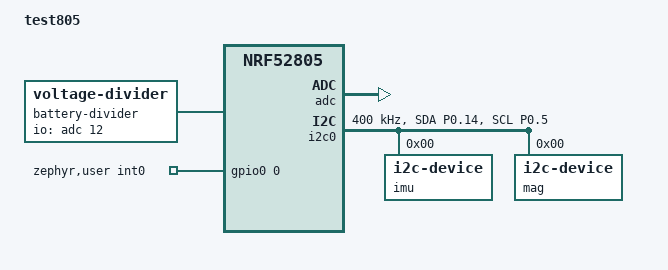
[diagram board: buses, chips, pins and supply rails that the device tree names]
// Copyright (c) 2024 Nordic Semiconductor ASA
// SPDX-License-Identifier: Apache-2.0

/dts-v1/;
#include <nordic/nrf52805_caaa.dtsi>

&pinctrl {
	i2c0_default: i2c0_default {
		group1 {
			psels = <NRF_PSEL(TWIM_SDA, 0, 14)>, <NRF_PSEL(TWIM_SCL, 0, 5)>;
			bias-disable;
		};
	};

	i2c0_sleep: i2c0_sleep {
		group1 {
			psels = <NRF_PSEL(TWIM_SDA, 0, 14)>, <NRF_PSEL(TWIM_SCL, 0, 5)>;
			bias-disable;
			low-power-enable;
		};
	};
};

/ {
	model = "test805";
	compatible = "test805";

	chosen {
		zephyr,sram = &sram0;
		zephyr,flash = &flash0;
	};

	battery-divider {
		compatible = "voltage-divider";
		status = "okay";
		io-channels = <&adc 12>; // Measure VDDHDIV5
		output-ohms = <1>;
		full-ohms = <2>;
	};

	zephyr,user {
		int0-gpios = <&gpio0 0 0>;
	};
};

&reg {
	regulator-initial-mode = <NRF5X_REG_MODE_DCDC>;
};

&adc {
	status = "okay";
};

&i2c0 {
	compatible = "nordic,nrf-twim";
	status = "okay";
	zephyr,concat-buf-size = <1023>;
	zephyr,flash-buf-max-size = <1023>;
	clock-frequency = <I2C_BITRATE_FAST>;
	pinctrl-0 = <&i2c0_default>;
	pinctrl-1 = <&i2c0_sleep>;
	pinctrl-names = "default", "sleep";

	imu: imu@0 { // any address out of range (00, 7f, etc. will search all addresses and stored address first if available, specify an address here to search first otherwise
		compatible = "i2c-device";
		label = "imu";
		reg = <0>;
	};

	mag: mag@0 {
		compatible = "i2c-device";
		label = "mag";
		reg = <0>;
	};

};

&gpio0 {
	status = "okay";
};

&gpiote {
	status = "okay";
};
